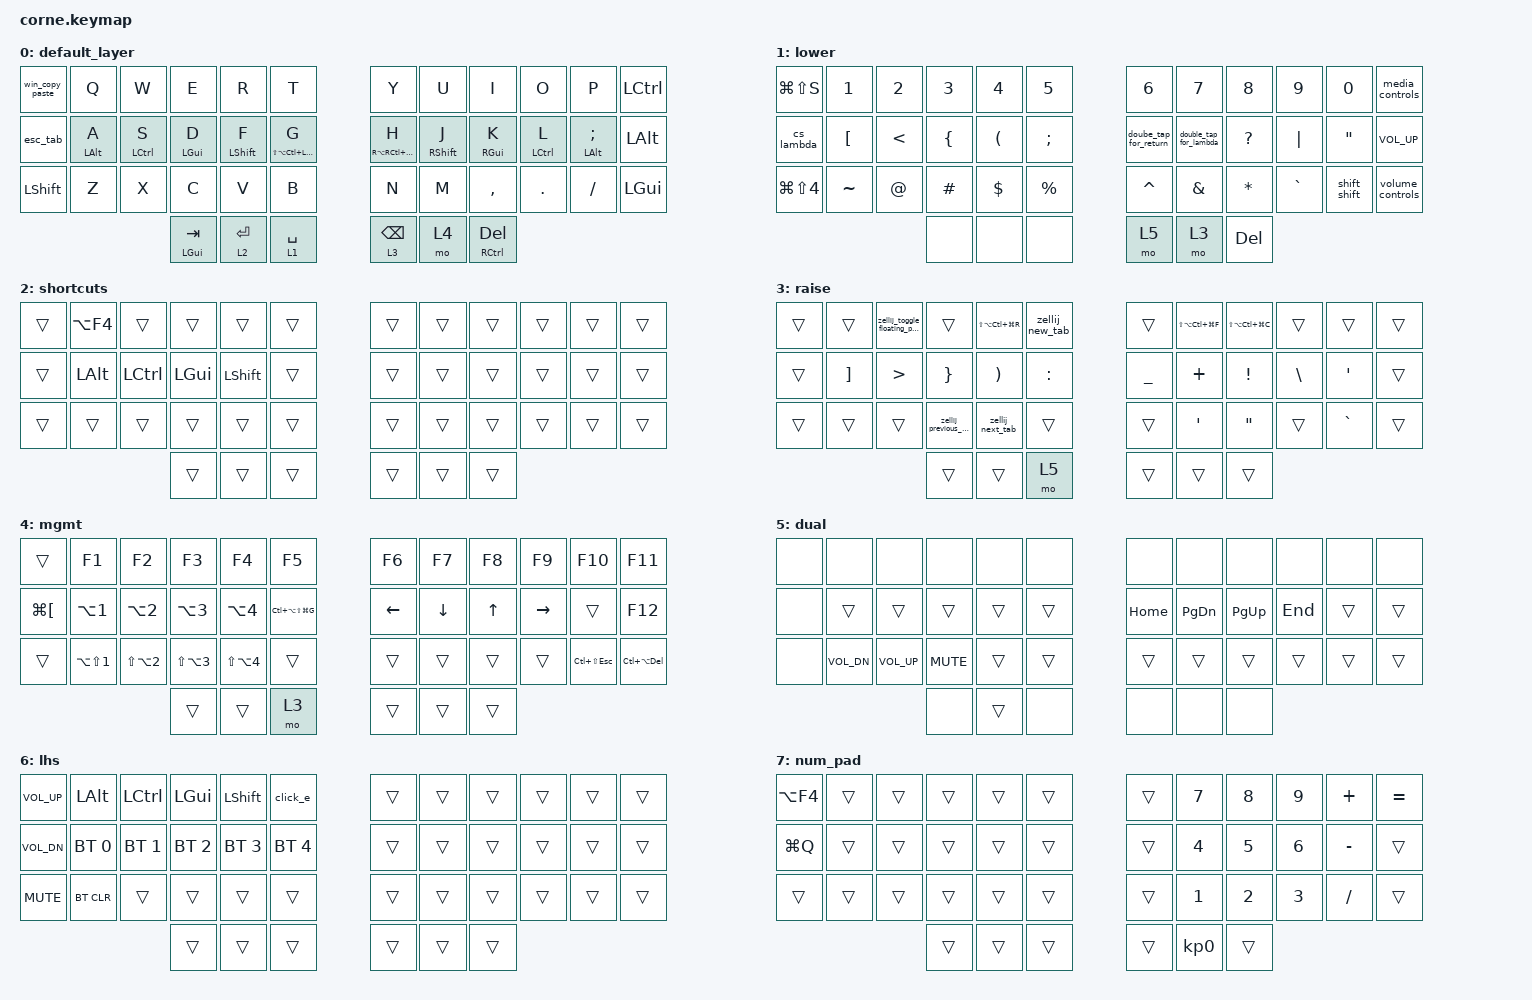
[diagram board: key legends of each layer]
/*
 * Copyright (c) 2020 The ZMK Contributors
 *
 * SPDX-License-Identifier: MIT
 */

#include <behaviors.dtsi>
#include <dt-bindings/zmk/bt.h>
#include <dt-bindings/zmk/keys.h>

#define HYP LS(LC(LA(LGUI)))

&mt {
    tapping-term-ms = <175>;
    flavor = "tap-preferred";
    retro-tap;
    quick-tap-ms = <200>;
    require-prior-idle-ms = <100>;
};

/ {
    combos {
        compatible = "zmk,combos";

        toggle_layer {
            bindings = <&tog 6>;
            key-positions = <14 15 16>;
        };

        toggle_rhl {
            bindings = <&tog 7>;
            key-positions = <19 20 21>;
        };

        jk_esc {
            bindings = <&kp ESCAPE>;
            key-positions = <19 20>;
        };
    };

    macros {
        cs_lambda: cs_lambda {
            compatible = "zmk,behavior-macro";
            #binding-cells = <0>;
            bindings = <&kp EQUAL &kp GREATER_THAN>;
            label = "CS_LAMBDA";
        };

        shift_shift: shift_shift {
            compatible = "zmk,behavior-macro";
            #binding-cells = <0>;
            bindings = <&kp LEFT_SHIFT &kp LEFT_SHIFT>;
            label = "SHIFT_SHIFT";
        };

        zellij_new_tab: zellij_new_tab {
            compatible = "zmk,behavior-macro";
            #binding-cells = <0>;
            bindings = <&kp LC(G) &kp T &kp N>;
            label = "ZELLIJ_NEW_TAB";
        };

        zellij_toggle_floating_pane: zellij_toggle_floating_pane {
            compatible = "zmk,behavior-macro";
            #binding-cells = <0>;
            bindings = <&kp LC(G) &kp P &kp W &kp ESCAPE>;
            label = "ZELLIJ_TOGGLE_FLOATING_PANE";
        };

        zellij_next_tab: zellij_next_tab {
            compatible = "zmk,behavior-macro";
            #binding-cells = <0>;
            bindings = <&kp LC(G) &kp T &kp L &kp ESCAPE>;
            label = "ZELLIJ_NEXT_TAB";
        };

        zellij_previous_tab: zellij_previous_tab {
            compatible = "zmk,behavior-macro";
            #binding-cells = <0>;
            bindings = <&kp LC(G) &kp T &kp H &kp ESCAPE>, <&macro_press>;

            label = "ZELLIJ_PREVIOUS_TAB";
        };

        rs_return: rs_return {
            compatible = "zmk,behavior-macro";
            #binding-cells = <0>;
            bindings = <&kp MINUS &kp GREATER_THAN>;
            label = "RS_RETURN";
        };

        click_e: click_e {
            compatible = "zmk,behavior-macro";
            #binding-cells = <0>;
            bindings =
                <&macro_wait_time 100>,
                <&macro_tap_time 100>,
                <&kp E &kp E &kp E &kp E &kp E &kp E>;

            label = "CLICK_E";
        };
    };

    behaviors {
        copy_paste: copy_paste {
            compatible = "zmk,behavior-tap-dance";
            label = "COPY_PASTE";
            #binding-cells = <0>;
            bindings = <&kp LG(C)>, <&kp LG(V)>;

            tapping-term-ms = <100>;
        };

        media_controls: media_controls {
            compatible = "zmk,behavior-tap-dance";
            label = "MEDIA_CONTROLS";
            #binding-cells = <0>;
            bindings = <&kp K_PLAY_PAUSE>, <&kp K_NEXT>, <&kp K_BACK>;
        };

        volume_controls: volume_controls {
            compatible = "zmk,behavior-tap-dance";
            label = "VOLUME_CONTROLS";
            #binding-cells = <0>;
            bindings = <&kp C_VOL_DN>, <&kp K_MUTE>;

            tapping-term-ms = <175>;
        };

        win_copy_paste: win_copy_paste {
            compatible = "zmk,behavior-tap-dance";
            label = "WIN_COPY_PASTE";
            #binding-cells = <0>;
            bindings = <&kp LC(C)>, <&kp LC(V)>;

            tapping-term-ms = <100>;
        };

        esc_tab: esc_tab {
            compatible = "zmk,behavior-tap-dance";
            label = "ESC_TAB";
            #binding-cells = <0>;
            bindings = <&kp ESC>, <&kp TAB>;
        };

        open_brace: open_brace {
            compatible = "zmk,behavior-tap-dance";
            label = "OPEN_BRACE";
            #binding-cells = <0>;
            bindings = <&kp LEFT_BRACE>, <&kp RIGHT_BRACE>;

            tapping-term-ms = <200>;
        };

        open_parenthesis: open_parenthesis {
            compatible = "zmk,behavior-tap-dance";
            label = "OPEN_PARENTHESIS";
            #binding-cells = <0>;
            bindings = <&kp LEFT_PARENTHESIS>, <&kp RIGHT_PARENTHESIS>;

            tapping-term-ms = <200>;
        };

        open_bracket: open_bracket {
            compatible = "zmk,behavior-tap-dance";
            label = "OPEN_BRACKET";
            #binding-cells = <0>;
            bindings = <&kp LEFT_BRACKET>, <&kp RIGHT_BRACKET>;

            tapping-term-ms = <200>;
        };

        open_angle_bracket: open_angle_bracket {
            compatible = "zmk,behavior-tap-dance";
            label = "OPEN_ANGLE_BRACKET";
            #binding-cells = <0>;
            bindings = <&kp LESS_THAN>, <&kp GREATER_THAN>;

            tapping-term-ms = <200>;
        };

        retro_layer_qt_ht: retro_layer_qt_ht {
            compatible = "zmk,behavior-hold-tap";
            label = "RETRO_LAYER_QT_HT";
            bindings = <&mo>, <&kp>;

            #binding-cells = <2>;
            tapping-term-ms = <200>;
            quick-tap-ms = <175>;
            retro-tap;
        };

        retro_mod_qt_ht: retro_mod_qt_ht {
            compatible = "zmk,behavior-hold-tap";
            label = "RETRO_MOD_QT_HT";
            bindings = <&mt>, <&kp>;

            #binding-cells = <2>;
            tapping-term-ms = <200>;
            quick-tap-ms = <175>;
            retro-tap;
        };

        double_tap_for_lambda: double_tap_for_lambda {
            compatible = "zmk,behavior-tap-dance";
            label = "DOUBLE_TAP_FOR_LAMBDA";
            #binding-cells = <0>;
            tapping-term-ms = <250>;
            bindings = <&kp EQUAL>, <&cs_lambda>;
        };

        doube_tap_for_return: doube_tap_for_return {
            compatible = "zmk,behavior-tap-dance";
            label = "DOUBE_TAP_FOR_RETURN";
            #binding-cells = <0>;
            bindings = <&kp MINUS>, <&rs_return>;

            tapping-term-ms = <250>;
        };
    };

    keymap {
        compatible = "zmk,keymap";

        default_layer {
            bindings = <
&win_copy_paste  &kp Q           &kp W               &kp E           &kp R                     &kp T                     &kp Y                           &kp U              &kp I                     &kp O        &kp P               &kp LCTRL
&esc_tab         &mt LEFT_ALT A  &mt LEFT_CONTROL S  &mt LEFT_GUI D  &mt LEFT_SHIFT F          &mt LS(LA(LC(LGUI))) G    &mt RA(RC(RG(RIGHT_SHIFT))) H   &mt RIGHT_SHIFT J  &mt RIGHT_GUI K           &mt LCTRL L  &mt LALT SEMICOLON  &kp LEFT_ALT
&kp LEFT_SHIFT   &kp Z           &kp X               &kp C           &kp V                     &kp B                     &kp N                           &kp M              &kp COMMA                 &kp PERIOD   &kp SLASH           &kp LGUI
                                                     &mt LGUI TAB    &retro_layer_qt_ht 2 RET  &lt 1 SPACE               &retro_layer_qt_ht 3 BACKSPACE  &mo 4              &mt RIGHT_CONTROL DELETE
            >;
        };

        lower {
            bindings = <
&kp LG(LS(S))         &kp N1            &kp N2         &kp N3          &kp N4                &kp N5           &kp N6                 &kp N7                  &kp N8        &kp N9     &kp N0             &media_controls
&cs_lambda            &kp LEFT_BRACKET  &kp LESS_THAN  &kp LEFT_BRACE  &kp LEFT_PARENTHESIS  &kp SEMICOLON    &doube_tap_for_return  &double_tap_for_lambda  &kp QUESTION  &kp PIPE   &kp DOUBLE_QUOTES  &kp C_VOLUME_UP
&kp LG(LS(NUMBER_4))  &kp TILDE         &kp AT         &kp HASH        &kp DOLLAR            &kp PERCENT      &kp CARET              &kp AMPERSAND           &kp ASTERISK  &kp GRAVE  &shift_shift       &volume_controls
                                                       &none           &none                 &none            &mo 5                  &mo 3                   &kp DELETE
            >;

            label = "lower";
        };

        shortcuts {
            bindings = <
&trans  &kp LA(F4)  &trans     &trans    &trans     &trans    &trans  &trans  &trans  &trans  &trans  &trans
&trans  &kp LALT    &kp LCTRL  &kp LGUI  &kp LSHFT  &trans    &trans  &trans  &trans  &trans  &trans  &trans
&trans  &trans      &trans     &trans    &trans     &trans    &trans  &trans  &trans  &trans  &trans  &trans
                               &trans    &trans     &trans    &trans  &trans  &trans
            >;
        };

        raise {
            bindings = <
&trans  &trans             &zellij_toggle_floating_pane  &trans                &kp LS(LA(LC(LG(R))))  &zellij_new_tab    &trans     &kp LS(LA(LC(LG(F))))  &kp LS(LA(LC(LG(C))))  &trans         &trans     &trans
&trans  &kp RIGHT_BRACKET  &kp GREATER_THAN              &kp RIGHT_BRACE       &kp RIGHT_PARENTHESIS  &kp COLON          &kp UNDER  &kp PLUS               &kp EXCLAMATION        &kp BACKSLASH  &kp SQT    &trans
&trans  &trans             &trans                        &zellij_previous_tab  &zellij_next_tab       &trans             &trans     &kp APOSTROPHE         &kp DOUBLE_QUOTES      &trans         &kp GRAVE  &trans
                                                         &trans                &trans                 &mo 5              &trans     &trans                 &trans
            >;

            label = "raise";
        };

        mgmt {
            bindings = <
&trans                &kp F1            &kp F2            &kp F3                &kp F4                &kp F5                   &kp F6    &kp F7    &kp F8  &kp F9     &kp F10             &kp F11
&kp LG(LEFT_BRACKET)  &kp LA(NUMBER_1)  &kp LA(NUMBER_2)  &kp LA(N3)            &kp LA(N4)            &kp LC(LA(LS(LG(G))))    &kp LEFT  &kp DOWN  &kp UP  &kp RIGHT  &trans              &kp F12
&trans                &kp LA(LS(N1))    &kp LS(LA(N2))    &kp LS(LA(NUMBER_3))  &kp LS(LA(NUMBER_4))  &trans                   &trans    &trans    &trans  &trans     &kp LC(LS(ESCAPE))  &kp LC(LA(DELETE))
                                                          &trans                &trans                &mo 3                    &trans    &trans    &trans
            >;

            label = "mgmt";
        };

        dual_layer {
            bindings = <
&none  &none         &none            &none       &none   &none     &none     &none          &none      &none    &none   &none
&none  &trans        &trans           &trans      &trans  &trans    &kp HOME  &kp PAGE_DOWN  &kp PG_UP  &kp END  &trans  &trans
&none  &kp C_VOL_DN  &kp C_VOLUME_UP  &kp K_MUTE  &trans  &trans    &trans    &trans         &trans     &trans   &trans  &trans
                                      &none       &trans  &none     &none     &none          &none
            >;

            label = "dual";
        };

        lhs {
            bindings = <
&kp C_VOLUME_UP  &kp LEFT_ALT  &kp LEFT_CONTROL  &kp LEFT_GUI  &kp LEFT_SHIFT  &click_e        &trans  &trans  &trans  &trans  &trans  &trans
&kp C_VOL_DN     &bt BT_SEL 0  &bt BT_SEL 1      &bt BT_SEL 2  &bt BT_SEL 3    &bt BT_SEL 4    &trans  &trans  &trans  &trans  &trans  &trans
&kp K_MUTE       &bt BT_CLR    &trans            &trans        &trans          &trans          &trans  &trans  &trans  &trans  &trans  &trans
                                                 &trans        &trans          &trans          &trans  &trans  &trans
            >;

            label = "lhs";
        };

        num_pad {
            bindings = <
&kp LA(F4)  &trans  &trans  &trans  &trans  &trans    &trans  &kp N7           &kp N8  &kp N9  &kp PLUS   &kp EQUAL
&kp LG(Q)   &trans  &trans  &trans  &trans  &trans    &trans  &kp N4           &kp N5  &kp N6  &kp MINUS  &trans
&trans      &trans  &trans  &trans  &trans  &trans    &trans  &kp N1           &kp N2  &kp N3  &kp FSLH   &trans
                            &trans  &trans  &trans    &trans  &kp KP_NUMBER_0  &trans
            >;

            label = "num_pad";
        };
    };
};
